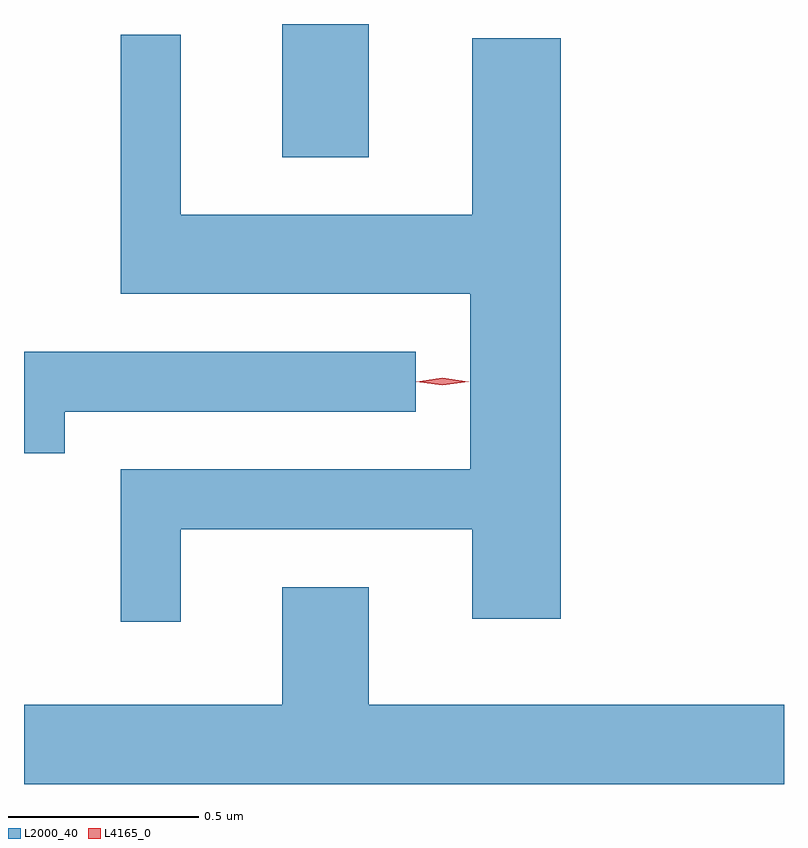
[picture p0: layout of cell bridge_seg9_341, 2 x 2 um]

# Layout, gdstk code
import gdstk
lib = gdstk.Library(unit=1e-6, precision=1e-09)
def R(c, l, rs):  # rectangles x0, y0, x1, y1
    for r in rs: c.add(gdstk.rectangle(r[:2], r[2:], *l))
def P(c, l, *ps):  # polygons
    for p in ps: c.add(gdstk.Polygon(p, *l))
L2000_40 = (2000, 40)
L4165_0 = (4165, 0)

bridge_seg9_341 = lib.new_cell('bridge_seg9_341')
R(bridge_seg9_341, L2000_40, [(724.991,2024.606,725.219,2024.956)])
P(bridge_seg9_341, L2000_40, [(724.724,2023.626),(725.491,2023.626),(725.491,2023.391),(725.724,2023.391),(725.724,2024.919),(725.491,2024.919),(725.491,2024.454),(724.724,2024.454),(724.724,2024.928),(724.566,2024.928),(724.566,2024.246),(725.486,2024.246),(725.486,2023.784),(724.566,2023.784),(724.566,2023.383),(724.724,2023.383)],
  [(724.419,2023.936),(725.343,2023.936),(725.343,2024.094),(724.312,2024.094),(724.312,2023.826),(724.419,2023.826)],
  [(726.312,2023.164),(725.219,2023.164),(725.219,2023.474),(724.991,2023.474),(724.991,2023.164),(724.312,2023.164),(724.312,2022.956),(726.312,2022.956)])
P(bridge_seg9_341, L4165_0, [(725.413,2024.005),(725.344,2024.014),(725.344,2024.015),(725.344,2024.015),(725.413,2024.025),(725.482,2024.015),(725.482,2024.015),(725.482,2024.014)],
  [(725.413,2024.005),(725.347,2024.014),(725.347,2024.015),(725.347,2024.015),(725.413,2024.025),(725.479,2024.015),(725.48,2024.015),(725.479,2024.014)])

lib.write_gds('bridge_seg9_341.gds')
